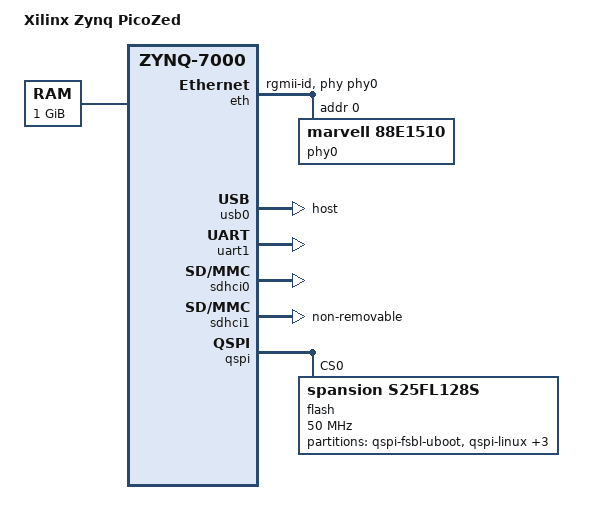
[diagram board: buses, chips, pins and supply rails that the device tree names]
/* /include/ "zynq.dtsi" */
/**************************************************/
/include/ "zynq-7000.dtsi"

/*
 * The Xilinx EMACPS and the Cadance GEM drivers are for the same IP core, but
 * the drivers are not fully feature compatible. We stay with the Xilinx driver
 * for now. The main issue is the lack of support for gmii2rgmii when using the
 * Cadance driver.
 */
&amba {
    eth: eth@e000b000 {
        compatible = "xlnx,ps7-ethernet-1.00.a";
        reg = <0xe000b000 0x1000>;
        interrupts = <0 22 4>;
        interrupt-parent = <&intc>;
        #address-cells = <0x1>;
        #size-cells = <0x0>;

        clock-names = "ref_clk", "aper_clk";
        clocks = <&clkc 13>, <&clkc 30>;

        xlnx,enet-clk-freq-hz = <0x17d7840>;
        xlnx,enet-reset = "MIO 11";
        xlnx,enet-slcr-1000mbps-div0 = <0x8>;
        xlnx,enet-slcr-1000mbps-div1 = <0x1>;
        xlnx,enet-slcr-100mbps-div0 = <0x8>;
        xlnx,enet-slcr-100mbps-div1 = <0x5>;
        xlnx,enet-slcr-10mbps-div0 = <0x8>;
        xlnx,enet-slcr-10mbps-div1 = <0x32>;
        xlnx,eth-mode = <0x1>;
        xlnx,has-mdio = <0x1>;
        xlnx,ptp-enet-clock = <111111115>;
    };

};

/delete-node/ &gem0;
/delete-node/ &gem1;

/ {
    interrupt-parent = <&intc>;

    aliases: aliases {
        ethernet0 = &eth;
        serial0 = &uart1;
    };
};

&clkc {
    ps-clk-frequency = <33333333>;
};

&usb0 {
    status = "okay";
    dr_mode = "host"; /* This breaks OTG mode */
};

&uart1 {
    status = "okay";
};

&sdhci0 {
    status = "okay";
};
/**************************************************/

/ {
    model = "Xilinx Zynq PicoZed";
    memory {
        device_type = "memory";
        reg = <0x00000000 0x40000000>;
    };
    
    chosen {
        bootargs = "console=ttyPS0,115200 root=/dev/mmcblk0p2 rw earlyprintk rootfstype=ext4 rootwait";
        linux,stdout-path = "/amba@0/uart@E0001000";
    };
};

&eth {
    status = "okay";
    phy-handle = <&phy0>;
    phy-mode = "rgmii-id";

    phy0: phy@0 {
        compatible = "marvell,88e1510";
        device_type = "ethernet-phy";
        reg = <0x0>;
        marvell,reg-init=<3 16 0xff00 0x1e 3 17 0xfff0 0x0a>;
    };
};

&sdhci1 {
    status = "okay";
    /* SD1 is onnected to a non-removable eMMC flash device */
    non-removable;
};

&uart1 {
    status = "okay";
};

&usb0 {
    status = "okay";
    dr_mode = "host";
    xlnx,phy-reset-gpio = <&gpio0 7 0>; 
};

&qspi {
    status = "okay";
    is-dual = <0>;
    num-cs = <1>;
    flash@0 {
        compatible = "spansion,s25fl128s", "micron,m25p80", "jedec,spi-nor";
        reg = <0x0>;
        spi-tx-bus-width = <1>;
        spi-rx-bus-width = <4>;
        spi-max-frequency = <50000000>;
        #address-cells = <1>;
        #size-cells = <1>;
        partition@qspi-fsbl-uboot {
            label = "qspi-fsbl-uboot";
            reg = <0x0 0x100000>;
        };
        partition@qspi-linux {
            label = "qspi-linux";
            reg = <0x100000 0x500000>;
        };
        partition@qspi-device-tree {
            label = "qspi-device-tree";
            reg = <0x600000 0x20000>;
        };
        partition@qspi-rootfs {
            label = "qspi-rootfs";
            reg = <0x620000 0x5E0000>;
        };
        partition@qspi-bitstream {
            label = "qspi-bitstream";
            reg = <0xC00000 0x400000>;
        };
    };
};
